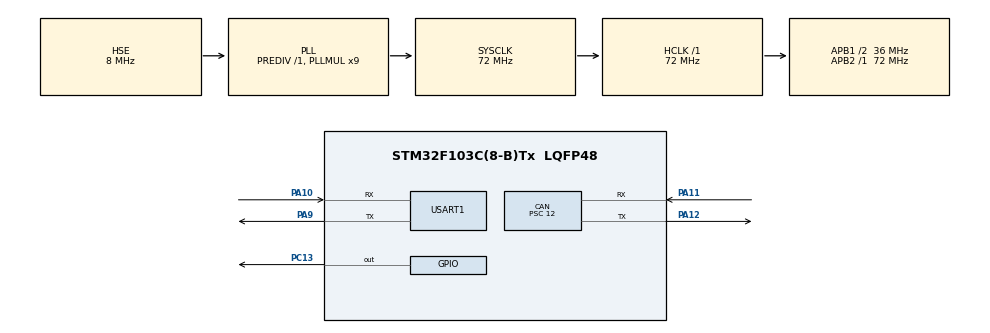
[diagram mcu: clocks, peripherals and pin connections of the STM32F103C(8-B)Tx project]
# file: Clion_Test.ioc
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CAN.ABOM=ENABLE
CAN.BS1=CAN_BS1_2TQ
CAN.BS2=CAN_BS2_3TQ
CAN.CalculateBaudRate=499999
CAN.CalculateTimeBit=2000
CAN.CalculateTimeQuantum=333.33333333333337
CAN.Prescaler=12
CAN.SJW=CAN_SJW_2TQ
FREERTOS.Tasks01=defaultTask,0,128,StartDefaultTask,Default,NULL,Dynamic,NULL,NULL
FREERTOS.configUSE_TIMERS=1
Mcu.Family=STM32F1
Mcu.Name=STM32F103C(8-B)Tx
Mcu.Package=LQFP48
NVIC.PriorityGroup=NVIC_PRIORITYGROUP_4
NVIC.TIM1_UP_IRQn=true\:15\:0\:false\:false\:true\:false\:false\:true\:true
NVIC.TimeBase=TIM1_UP_IRQn
NVIC.TimeBaseIP=TIM1
NVIC.USART1_IRQn=true\:5\:0\:false\:false\:true\:true\:true\:true\:true
NVIC.USB_HP_CAN1_TX_IRQn=true\:5\:0\:false\:false\:true\:true\:true\:true\:true
NVIC.USB_LP_CAN1_RX0_IRQn=true\:5\:0\:false\:false\:true\:true\:true\:true\:true
PA10.Mode=Asynchronous
PA10.Signal=USART1_RX
PA11.Mode=CAN_Activate
PA11.Signal=CAN_RX
PA12.Mode=CAN_Activate
PA12.Signal=CAN_TX
PA13.Mode=Serial_Wire
PA13.Signal=SYS_JTMS-SWDIO
PA14.Mode=Serial_Wire
PA14.Signal=SYS_JTCK-SWCLK
PA9.Mode=Asynchronous
PA9.Signal=USART1_TX
PC13-TAMPER-RTC.Signal=GPIO_Output
PD0-OSC_IN.Mode=HSE-External-Oscillator
PD0-OSC_IN.Signal=RCC_OSC_IN
PD1-OSC_OUT.Mode=HSE-External-Oscillator
PD1-OSC_OUT.Signal=RCC_OSC_OUT
ProjectManager.HeapSize=0x200
ProjectManager.StackSize=0x400
ProjectManager.TargetToolchain=CMake
RCC.AHBFreq_Value=72000000
RCC.APB1CLKDivider=RCC_HCLK_DIV2
RCC.APB1Freq_Value=36000000
RCC.APB1TimFreq_Value=72000000
RCC.APB2Freq_Value=72000000
RCC.APB2TimFreq_Value=72000000
RCC.HCLKFreq_Value=72000000
RCC.PLLMUL=RCC_PLL_MUL9
RCC.PLLSourceVirtual=RCC_PLLSOURCE_HSE
RCC.SYSCLKFreq_VALUE=72000000
RCC.SYSCLKSource=RCC_SYSCLKSOURCE_PLLCLK
RCC.USBFreq_Value=72000000
USART1.VirtualMode=VM_ASYNC
VP_FREERTOS_VS_CMSIS_V1.Mode=CMSIS_V1
VP_SYS_VS_tim1.Mode=TIM1
board=custom

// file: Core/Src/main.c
/* USER CODE BEGIN Header */
/**
  ******************************************************************************
  * @file           : main.c
  * @brief          : Main program body
  ******************************************************************************
  * @attention
  *
  * Copyright (c) 2025 STMicroelectronics.
  * All rights reserved.
  *
  * This software is licensed under terms that can be found in the LICENSE file
  * in the root directory of this software component.
  * If no LICENSE file comes with this software, it is provided AS-IS.
  *
  ******************************************************************************
  */
/* USER CODE END Header */
#include "main.h"
#include "cmsis_os.h"

/* USER CODE BEGIN Includes */
#include "util_platform.h"
#include "Com_Lcfg.h"
#include "PduR_Lcfg.h"
#include "Nm_Lcfg.h"
/* USER CODE END Includes */

CAN_HandleTypeDef hcan;

UART_HandleTypeDef huart1;

osThreadId defaultTaskHandle;

void SystemClock_Config(void);
static void MX_GPIO_Init(void);
static void MX_CAN_Init(void);
static void MX_USART1_UART_Init(void);
void StartDefaultTask(void const * argument);

/* USER CODE BEGIN PFP */
TaskHandle_t xTest_TaskHandle = NULL;
void Test_Task(void *pvParameters);
uint32_t global_ms;
/* USER CODE END PFP */

/* USER CODE BEGIN 0 */
HAL_StatusTypeDef CAN_SendData(CAN_HandleTypeDef *hcan, uint32_t can_id,
                               uint8_t is_ext_id, const uint8_t *data_buf, uint16_t data_len)
{
  // 1. 参数合法性检查（避免非法调用导致硬件异常）
  if (hcan == NULL)                  // 检查 CAN 句柄是否为空
    return HAL_ERROR;
  if (data_buf == NULL)              // 检查数据缓冲区是否为空
    return HAL_ERROR;
  if (data_len < 1 || data_len > 8)  // 检查数据长度（CAN 数据帧仅支持 1~8 字节）
    return HAL_ERROR;
  // 检查 CAN ID 合法性（标准帧 11 位，扩展帧 29 位）
  if ((is_ext_id == 0 && can_id > 0x7FF) || (is_ext_id == 1 && can_id > 0x1FFFFFFF))
    return HAL_ERROR;

  // 2. 配置 CAN 发送头部（根据参数动态设置）
  CAN_TxHeaderTypeDef tx_header = {0};  // 初始化头部结构体（避免随机值）
  if (is_ext_id == 1)
  {
    tx_header.IDE = CAN_ID_EXT;       // 扩展帧模式（29位 ID）
    tx_header.ExtId = can_id;         // 赋值扩展 ID
  }
  else
  {
    tx_header.IDE = CAN_ID_STD;       // 标准帧模式（11位 ID）
    tx_header.StdId = can_id;         // 赋值标准 ID
  }
  tx_header.RTR = CAN_RTR_DATA;         // 数据帧（非远程请求帧）
  tx_header.DLC = data_len;             // 数据长度（用户指定）
  tx_header.TransmitGlobalTime = DISABLE; // 禁用发送时间戳（按需启用）

  uint32_t tx_mailbox;  // 存储选中的发送邮箱编号

  HAL_StatusTypeDef send_status = HAL_CAN_AddTxMessage(
      hcan,          // CAN 句柄
      &tx_header,    // 发送头部配置
      data_buf,      // 发送数据缓冲区
      &tx_mailbox    // 输出选中的邮箱编号
  );

  return send_status;  // 返回发送结果（供调用者判断是否成功）
}

void CAN_Stack_init(void)
{
  PduR_Config_Init();
  Com_Init(&gComConfigExample);
  Nm_Init(&gNmConfigExample);

  // Com_IpduGroupStart(0, TRUE);
  // Com_EnableReceptionDM(0);
  // Nm_PassiveStartUp(0);
}

uint8_t send_data1[] = {0x12, 0x34};

static void vOneMsTimerCallback(TimerHandle_t xTimer)
{
  // 时间变量自增
  global_ms++;
}

// 定时器句柄
TimerHandle_t xOneMsTimer = NULL;
void vInitGlobalTimer(void)
{
  // 创建软件定时器，周期为1ms，自动重载
  xOneMsTimer = xTimerCreate(
      "1ms Timer",           // 定时器名称
      pdMS_TO_TICKS(1),      // 周期：1ms（转换为系统滴答数）
      pdTRUE,                // 自动重载
      NULL,                  // 不使用定时器ID
      vOneMsTimerCallback    // 回调函数
  );

  // 启动定时器
  if(xOneMsTimer != NULL)
  {
    xTimerStart(xOneMsTimer, 0);
  }
}
/* USER CODE END 0 */

int main(void)
{

  /* MCU Configuration--------------------------------------------------------*/

  /* Reset of all peripherals, Initializes the Flash interface and the Systick. */
  HAL_Init();

  /* Configure the system clock */
  SystemClock_Config();

  /* Initialize all configured peripherals */
  MX_GPIO_Init();
  MX_CAN_Init();
  MX_USART1_UART_Init();
  /* USER CODE BEGIN 2 */
  if (HAL_CAN_Start(&hcan) != HAL_OK) {
    Error_Handler();
  }

  CAN_FilterTypeDef sFilterConfig;
  sFilterConfig.FilterBank = 0;
  sFilterConfig.FilterMode = CAN_FILTERMODE_IDMASK;
  sFilterConfig.FilterScale = CAN_FILTERSCALE_32BIT;
  sFilterConfig.FilterIdHigh = 0x0000;
  sFilterConfig.FilterIdLow = 0x0000;
  sFilterConfig.FilterMaskIdHigh = 0x0000;
  sFilterConfig.FilterMaskIdLow = 0x0000;
  sFilterConfig.FilterFIFOAssignment = CAN_RX_FIFO0;
  sFilterConfig.FilterActivation = ENABLE;
  sFilterConfig.SlaveStartFilterBank = 14;
  HAL_CAN_ConfigFilter(&hcan, &sFilterConfig);
  HAL_CAN_ActivateNotification(&hcan,CAN_IT_RX_FIFO0_MSG_PENDING);

  CAN_Stack_init();
  // UART_Send_IT(&huart1, "Hi\r\n");

  util_printf("Hello World\r\n");

  /* USER CODE END 2 */

  /* Create the thread(s) */
  /* definition and creation of defaultTask */
  osThreadDef(defaultTask, StartDefaultTask, osPriorityNormal, 0, 128);
  defaultTaskHandle = osThreadCreate(osThread(defaultTask), NULL);

  /* Start scheduler */
  osKernelStart();

  /* We should never get here as control is now taken by the scheduler */

  /* Infinite loop */
  while (1)
  {

  }
}

void SystemClock_Config(void)
{
  RCC_OscInitTypeDef RCC_OscInitStruct = {0};
  RCC_ClkInitTypeDef RCC_ClkInitStruct = {0};

  /** Initializes the RCC Oscillators according to the specified parameters
  * in the RCC_OscInitTypeDef structure.
  */
  RCC_OscInitStruct.OscillatorType = RCC_OSCILLATORTYPE_HSE;
  RCC_OscInitStruct.HSEState = RCC_HSE_ON;
  RCC_OscInitStruct.HSEPredivValue = RCC_HSE_PREDIV_DIV1;
  RCC_OscInitStruct.HSIState = RCC_HSI_ON;
  RCC_OscInitStruct.PLL.PLLState = RCC_PLL_ON;
  RCC_OscInitStruct.PLL.PLLSource = RCC_PLLSOURCE_HSE;
  RCC_OscInitStruct.PLL.PLLMUL = RCC_PLL_MUL9;
  if (HAL_RCC_OscConfig(&RCC_OscInitStruct) != HAL_OK)
  {
    Error_Handler();
  }

  /** Initializes the CPU, AHB and APB buses clocks
  */
  RCC_ClkInitStruct.ClockType = RCC_CLOCKTYPE_HCLK|RCC_CLOCKTYPE_SYSCLK
                              |RCC_CLOCKTYPE_PCLK1|RCC_CLOCKTYPE_PCLK2;
  RCC_ClkInitStruct.SYSCLKSource = RCC_SYSCLKSOURCE_PLLCLK;
  RCC_ClkInitStruct.AHBCLKDivider = RCC_SYSCLK_DIV1;
  RCC_ClkInitStruct.APB1CLKDivider = RCC_HCLK_DIV2;
  RCC_ClkInitStruct.APB2CLKDivider = RCC_HCLK_DIV1;

  if (HAL_RCC_ClockConfig(&RCC_ClkInitStruct, FLASH_LATENCY_2) != HAL_OK)
  {
    Error_Handler();
  }
}

static void MX_CAN_Init(void)
{

  hcan.Instance = CAN1;
  hcan.Init.Prescaler = 12;
  hcan.Init.Mode = CAN_MODE_NORMAL;
  hcan.Init.SyncJumpWidth = CAN_SJW_2TQ;
  hcan.Init.TimeSeg1 = CAN_BS1_2TQ;
  hcan.Init.TimeSeg2 = CAN_BS2_3TQ;
  hcan.Init.TimeTriggeredMode = DISABLE;
  hcan.Init.AutoBusOff = ENABLE;
  hcan.Init.AutoWakeUp = DISABLE;
  hcan.Init.AutoRetransmission = DISABLE;
  hcan.Init.ReceiveFifoLocked = DISABLE;
  hcan.Init.TransmitFifoPriority = DISABLE;
  if (HAL_CAN_Init(&hcan) != HAL_OK)
  {
    Error_Handler();
  }

}

static void MX_USART1_UART_Init(void)
{

  huart1.Instance = USART1;
  huart1.Init.BaudRate = 115200;
  huart1.Init.WordLength = UART_WORDLENGTH_8B;
  huart1.Init.StopBits = UART_STOPBITS_1;
  huart1.Init.Parity = UART_PARITY_NONE;
  huart1.Init.Mode = UART_MODE_TX_RX;
  huart1.Init.HwFlowCtl = UART_HWCONTROL_NONE;
  huart1.Init.OverSampling = UART_OVERSAMPLING_16;
  if (HAL_UART_Init(&huart1) != HAL_OK)
  {
    Error_Handler();
  }

}

static void MX_GPIO_Init(void)
{
  GPIO_InitTypeDef GPIO_InitStruct = {0};

  /* GPIO Ports Clock Enable */
  __HAL_RCC_GPIOC_CLK_ENABLE();
  __HAL_RCC_GPIOD_CLK_ENABLE();
  __HAL_RCC_GPIOA_CLK_ENABLE();

  /*Configure GPIO pin Output Level */
  HAL_GPIO_WritePin(GPIOC, GPIO_PIN_13, GPIO_PIN_RESET);

  /*Configure GPIO pin : PC13 */
  GPIO_InitStruct.Pin = GPIO_PIN_13;
  GPIO_InitStruct.Mode = GPIO_MODE_OUTPUT_PP;
  GPIO_InitStruct.Pull = GPIO_NOPULL;
  GPIO_InitStruct.Speed = GPIO_SPEED_FREQ_LOW;
  HAL_GPIO_Init(GPIOC, &GPIO_InitStruct);

}

/* USER CODE BEGIN 4 */
void Test_Task(void *pvParameters)
{
  for(;;)
  {
    HAL_GPIO_TogglePin(GPIOC, GPIO_PIN_13);
    vTaskDelay(1000);
  }
  // 任务正常情况下不会执行到这里，若需要退出，需调用 vTaskDelete
  vTaskDelete(NULL);
}
/* USER CODE END 4 */

void StartDefaultTask(void const * argument)
{
  /* USER CODE BEGIN 5 */
  /* Infinite loop */
  for(;;)
  {
    Nm_MainFunction();
    Com_MainFunctionRx();
    Com_MainFunctionTx();
  }
  /* USER CODE END 5 */
}

void HAL_TIM_PeriodElapsedCallback(TIM_HandleTypeDef *htim)
{
  if (htim->Instance == TIM1)
  {
    HAL_IncTick();
  }
  /* USER CODE BEGIN Callback 1 */
  global_ms++;
  /* USER CODE END Callback 1 */
}

void Error_Handler(void)
{
  __disable_irq();
  while (1)
  {
  }
}

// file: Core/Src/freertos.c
/* USER CODE BEGIN Header */
/**
  ******************************************************************************
  * File Name          : freertos.c
  * Description        : Code for freertos applications
  ******************************************************************************
  * @attention
  *
  * Copyright (c) 2025 STMicroelectronics.
  * All rights reserved.
  *
  * This software is licensed under terms that can be found in the LICENSE file
  * in the root directory of this software component.
  * If no LICENSE file comes with this software, it is provided AS-IS.
  *
  ******************************************************************************
  */
/* USER CODE END Header */

#include "FreeRTOS.h"
#include "task.h"
#include "main.h"

/* GetIdleTaskMemory prototype (linked to static allocation support) */
void vApplicationGetIdleTaskMemory( StaticTask_t **ppxIdleTaskTCBBuffer, StackType_t **ppxIdleTaskStackBuffer, uint32_t *pulIdleTaskStackSize );

/* GetTimerTaskMemory prototype (linked to static allocation support) */
void vApplicationGetTimerTaskMemory( StaticTask_t **ppxTimerTaskTCBBuffer, StackType_t **ppxTimerTaskStackBuffer, uint32_t *pulTimerTaskStackSize );

/* USER CODE BEGIN GET_IDLE_TASK_MEMORY */
static StaticTask_t xIdleTaskTCBBuffer;
static StackType_t xIdleStack[configMINIMAL_STACK_SIZE];

void vApplicationGetIdleTaskMemory( StaticTask_t **ppxIdleTaskTCBBuffer, StackType_t **ppxIdleTaskStackBuffer, uint32_t *pulIdleTaskStackSize )
{
  *ppxIdleTaskTCBBuffer = &xIdleTaskTCBBuffer; // 任务控制块内存
  *ppxIdleTaskStackBuffer = &xIdleStack[0];    // 任务堆栈内存
  *pulIdleTaskStackSize = configMINIMAL_STACK_SIZE; // 任务堆栈大小
  /* place for user code */
}
/* USER CODE END GET_IDLE_TASK_MEMORY */

/* USER CODE BEGIN GET_TIMER_TASK_MEMORY */
static StaticTask_t xTimerTaskTCBBuffer;
static StackType_t xTimerStack[configTIMER_TASK_STACK_DEPTH];

void vApplicationGetTimerTaskMemory( StaticTask_t **ppxTimerTaskTCBBuffer, StackType_t **ppxTimerTaskStackBuffer, uint32_t *pulTimerTaskStackSize )
{
  *ppxTimerTaskTCBBuffer = &xTimerTaskTCBBuffer;
  *ppxTimerTaskStackBuffer = &xTimerStack[0];
  *pulTimerTaskStackSize = configTIMER_TASK_STACK_DEPTH;
  /* place for user code */
}
/* USER CODE END GET_TIMER_TASK_MEMORY */

/* USER CODE BEGIN Application */
/**
*********************************************************************
* @brief 获取定时器任务的任务堆栈和任务控制块内存
* ppxTimerTaskTCBBuffer : 任务控制块内存
* ppxTimerTaskStackBuffer : 任务堆栈内存
* pulTimerTaskStackSize : 任务堆栈大小
**********************************************************************
*/
// static StaticTask_t Timer_Task_TCB;
// static StackType_t Timer_Task_Stack[configTIMER_TASK_STACK_DEPTH];
//
// void vApplicationGetTimerTaskMemory(StaticTask_t **ppxTimerTaskTCBBuffer,
//                                     StackType_t **ppxTimerTaskStackBuffer,
//                                     uint32_t *pulTimerTaskStackSize)
// {
//  *ppxTimerTaskTCBBuffer=&Timer_Task_TCB;/* 任务控制块内存 */
//  *ppxTimerTaskStackBuffer=Timer_Task_Stack;/* 任务堆栈内存 */
//  *pulTimerTaskStackSize=configTIMER_TASK_STACK_DEPTH;/* 任务堆栈大小 */
// }
/* USER CODE END Application */
